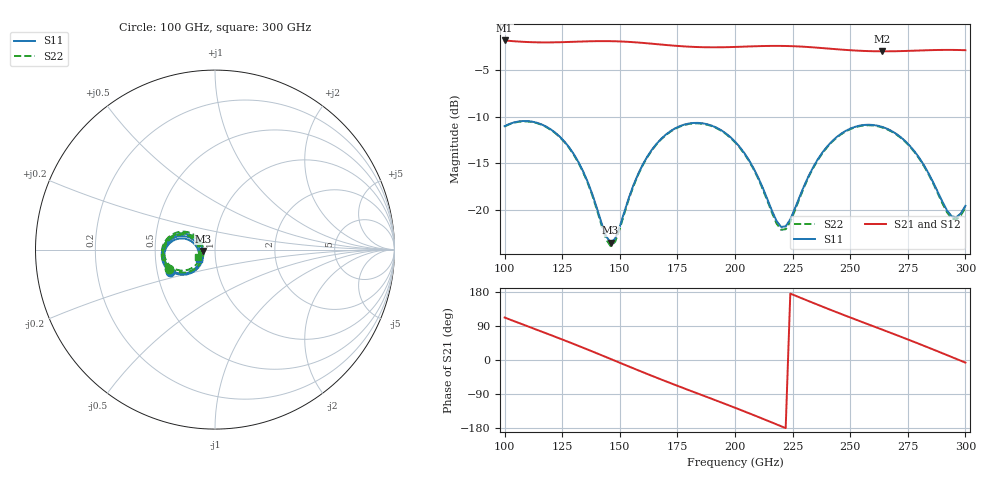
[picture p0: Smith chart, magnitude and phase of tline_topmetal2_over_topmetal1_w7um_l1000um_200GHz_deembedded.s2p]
! Created with skrf 2.0.1 (http://scikit-rf.org).
# GHz S DB R 50.0
!freq dBS11 angS11 dBS21 angS21 dBS12 angS12 dBS22 angS22
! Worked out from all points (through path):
!   101 points, 100 GHz to 300 GHz, reference 50 ohm
!   highest |S21| = -1.88 dB at 100 GHz (marker M1); lowest = -3.0 dB at 264 GHz (marker M2)
!   group delay of S21, straight-line fit = 6.66 ps
!   lowest |S11| = -23.5 dB at 146 GHz (marker M3), VSWR 1.14, Z = 43.7 - j0.609 ohm
!   |S11| at or under -10 dB: start of sweep to end of sweep
!   |S22| runs from -23.8 to -10.5 dB; largest |S21 - S12| = 1.4e-13
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100  -11.03 -154.0  -1.88 112.1  -1.88 112.1  -11.06 -156.8
108  -10.48 -169.2  -2.02 93.6  -2.02 93.6  -10.52 -172.2
116  -10.84 176.0  -2.08 75.1  -2.08 75.1  -10.88 172.8
126  -12.68 159.0  -2.05 51.8  -2.05 51.8  -12.73 155.4
134  -15.81 149.7  -1.98 32.6  -1.98 32.6  -15.90 145.6
146  -23.47 -174.1  -1.95 2.8  -1.95 2.8  -23.84 -177.7
148  -23.03 -157.5  -1.96 -2.2  -1.96 -2.2  -23.37 -160.3
156  -17.28 -132.7  -2.06 -22.3  -2.06 -22.3  -17.38 -135.6
168  -12.37 -144.7  -2.31 -51.5  -2.31 -51.5  -12.42 -148.4
176  -11.03 -157.9  -2.48 -70.4  -2.48 -70.4  -11.08 -162.0
184  -10.68 -171.7  -2.58 -88.9  -2.58 -88.9  -10.73 -176.0
200  -12.67 162.8  -2.57 -126.0  -2.57 -126.0  -12.74 157.8
210  -16.48 154.7  -2.49 -150.0  -2.49 -150.0  -16.59 149.1
220  -21.79 -176.1  -2.46 -174.8  -2.46 -174.8  -22.10 178.6
224  -20.97 -152.1  -2.48 175.2  -2.48 175.2  -21.23 -156.6
234  -15.38 -136.8  -2.62 150.5  -2.62 150.5  -15.47 -141.6
248  -11.54 -153.5  -2.89 116.9  -2.89 116.9  -11.59 -159.0
264  -11.12 -178.9  -3.04 79.9  -3.04 79.9  -11.17 175.0
268  -11.55 175.1  -3.03 70.7  -3.03 70.7  -11.61 168.8
282  -15.19 159.9  -2.93 37.5  -2.93 37.5  -15.29 153.0
294  -20.64 -176.8  -2.89 8.0  -2.89 8.0  -20.87 176.3
300  -19.54 -148.6  -2.92 -6.9  -2.92 -6.9  -19.73 -154.9
